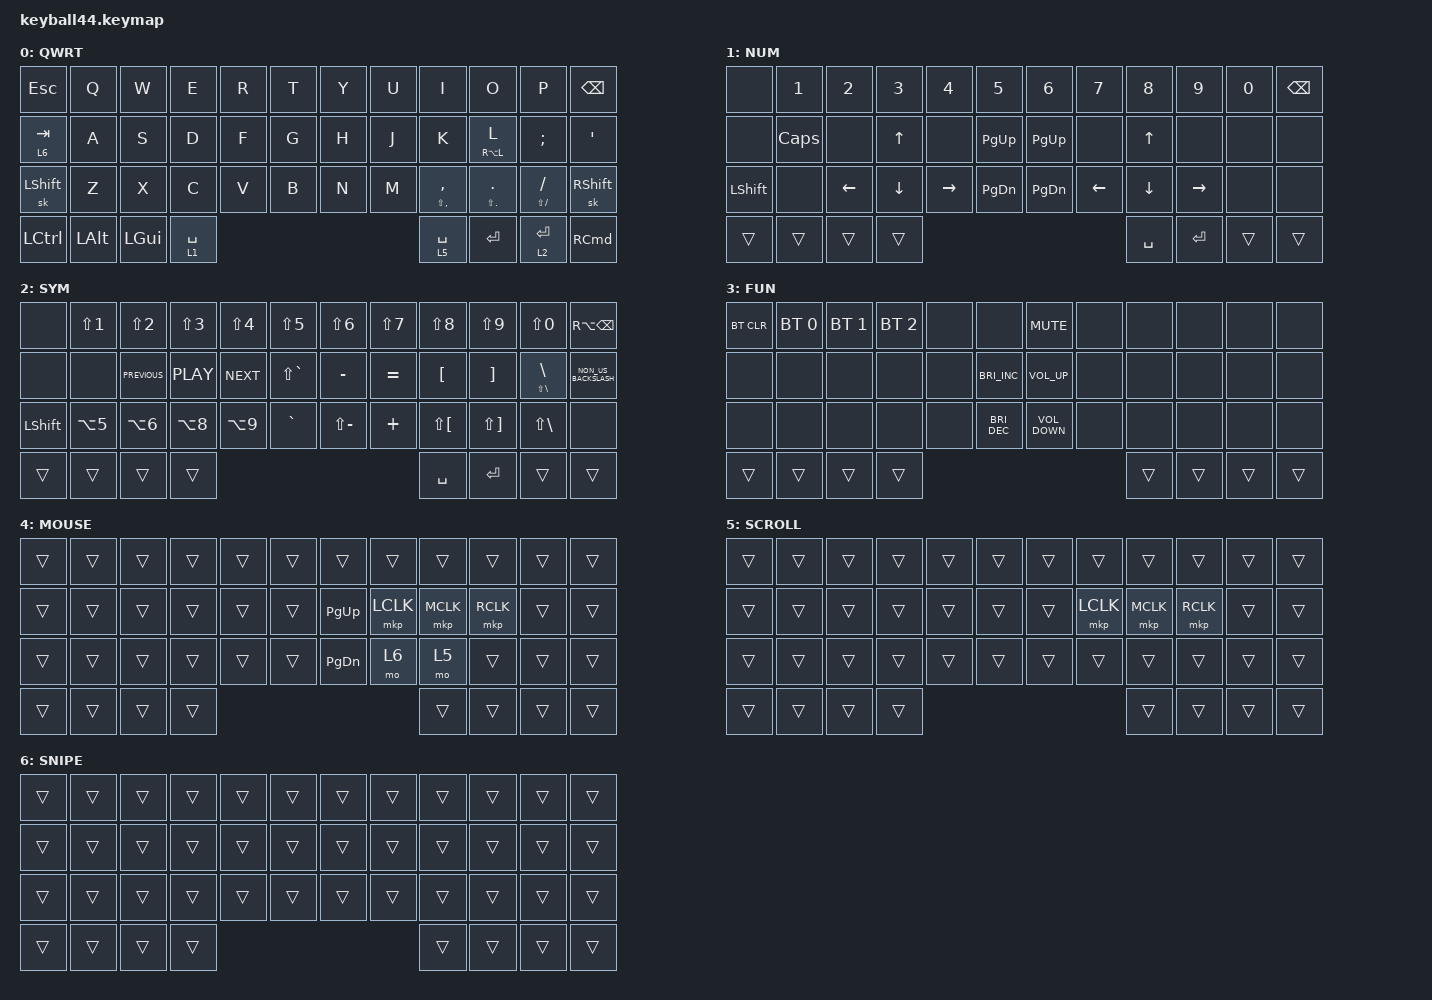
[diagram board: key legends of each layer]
#define DEFAULT 0
#define NUM     1
#define SYM     2
#define FUN     3
#define MOUSE   4
#define SCROLL  5
#define SNIPE   6

#include <behaviors/mouse_keys.dtsi>
#include <dt-bindings/zmk/mouse.h>
#include <behaviors.dtsi>
#include <dt-bindings/zmk/bt.h>
#include <dt-bindings/zmk/keys.h>
#include <dt-bindings/zmk/pointing.h>

&lt {
    tapping-term-ms = <200>;
    flavor = "balanced";
    quick-tap-ms = <100>;
};

&mt {
    tapping-term-ms = <200>;
    flavor = "tap-preferred";
    quick-tap-ms = <150>;
};

&caps_word { continue-list = <UNDERSCORE MINUS>; };

/ {
    // custom shift using mod-morph 

    behaviors {
        cmqus: comma_question {
            compatible = "zmk,behavior-mod-morph";
            label = "COMMA_QUESTION";
            #binding-cells = <0>;
            bindings = <&kp COMMA>, <&kp QUESTION>;

            mods = <(MOD_LSFT|MOD_RSFT)>;
        };

        dtsmi: dot_semi {
            compatible = "zmk,behavior-mod-morph";
            label = "DOT_SEMI";
            #binding-cells = <0>;
            bindings = <&kp DOT>, <&kp SEMI>;

            mods = <(MOD_LSFT|MOD_RSFT)>;
        };

        tap_and_hold: tap_and_hold {
            compatible = "zmk,behavior-hold-tap";
            label = "TAP_AND_HOLD";
            bindings = <&kp>, <&kp>;

            #binding-cells = <2>;
            tapping-term-ms = <150>;
            flavor = "tap-preferred";
        };
    };

    combos {
        compatible = "zmk,combos";

        layer_3 {
            bindings = <&mo 3>;
            key-positions = <39 42>;
            timeout-ms = <2000>;
        };
    };

    keymap {
        compatible = "zmk,keymap";

        default_layer {
            label = "QWRT";
            bindings = <
&kp ESCAPE        &kp Q     &kp W     &kp E        &kp R        &kp T                 &kp Y        &kp U  &kp I                          &kp O                      &kp P                          &kp BACKSPACE
&lt 6 TAB         &kp A     &kp S     &kp D        &kp F        &kp G                 &kp H        &kp J  &kp K                          &tap_and_hold RA(L) L      &kp SEMI                       &kp SQT
&sk LEFT_SHIFT    &kp Z     &kp X     &kp C        &kp V        &kp B                 &kp N        &kp M  &tap_and_hold LS(COMMA) COMMA  &tap_and_hold LS(DOT) DOT  &tap_and_hold LS(SLASH) SLASH  &sk RIGHT_SHIFT
&kp LEFT_CONTROL  &kp LALT  &kp LGUI  &lt 1 SPACE  &lt 5 SPACE             &kp ENTER  &lt 2 ENTER                                                                                                  &kp RIGHT_COMMAND
            >;
        };

        number_layer {
            label = "NUM";
            bindings = <
&none           &kp NUMBER_1  &kp NUMBER_2  &kp NUMBER_3  &kp NUMBER_4  &kp NUMBER_5                  &kp NUMBER_6   &kp NUMBER_7  &kp NUMBER_8  &kp NUMBER_9  &kp NUMBER_0  &kp BACKSPACE
&none           &kp CAPSLOCK  &none         &kp UP        &none         &kp PAGE_UP                   &kp PAGE_UP    &none         &kp UP        &none         &none         &none
&kp LEFT_SHIFT  &none         &kp LEFT      &kp DOWN      &kp RIGHT     &kp PAGE_DOWN                 &kp PAGE_DOWN  &kp LEFT      &kp DOWN      &kp RIGHT     &none         &none
&trans          &trans        &trans        &trans        &kp SPACE                        &kp ENTER  &trans                                                                 &trans
            >;
        };

        symbol_layer {
            label = "SYM";
            bindings = <
&none       &kp LS(NUMBER_1)  &kp LS(NUMBER_2)  &kp LS(NUMBER_3)  &kp LS(NUMBER_4)  &kp LS(NUMBER_5)                 &kp LS(NUMBER_6)  &kp LS(NUMBER_7)  &kp LS(NUMBER_8)      &kp LS(NUMBER_9)       &kp LS(NUMBER_0)                       &kp RA(BACKSPACE)
&none       &none             &kp C_PREVIOUS    &kp C_PLAY        &kp C_NEXT        &kp LS(GRAVE)                    &kp MINUS         &kp EQUAL         &kp LEFT_BRACKET      &kp RIGHT_BRACKET      &tap_and_hold LS(BACKSLASH) BACKSLASH  &kp NON_US_BACKSLASH
&kp LSHIFT  &kp LA(NUMBER_5)  &kp LA(NUMBER_6)  &kp LA(NUMBER_8)  &kp LA(NUMBER_9)  &kp GRAVE                        &kp LS(MINUS)     &kp PLUS          &kp LS(LEFT_BRACKET)  &kp LS(RIGHT_BRACKET)  &kp LS(BACKSLASH)                      &none
&trans      &trans            &trans            &trans            &kp SPACE                               &kp ENTER  &trans                                                                                                                  &trans
            >;
        };

        function_layer {
            label = "FUN";
            bindings = <
&bt BT_CLR  &bt BT_SEL 0  &bt BT_SEL 1  &bt BT_SEL 2  &none   &none                             &kp C_MUTE         &none  &none  &none  &none  &none
&none       &none         &none         &none         &none   &kp C_BRIGHTNESS_INC              &kp C_VOLUME_UP    &none  &none  &none  &none  &none
&none       &none         &none         &none         &none   &kp C_BRIGHTNESS_DEC              &kp C_VOLUME_DOWN  &none  &none  &none  &none  &none
&trans      &trans        &trans        &trans        &trans                            &trans  &trans                                         &trans
            >;
        };

        mouse_layer {
            label = "MOUSE";
            bindings = <
&trans  &trans  &trans  &trans  &trans  &trans              &trans         &trans     &trans     &trans     &trans  &trans
&trans  &trans  &trans  &trans  &trans  &trans              &kp PAGE_UP    &mkp LCLK  &mkp MCLK  &mkp RCLK  &trans  &trans
&trans  &trans  &trans  &trans  &trans  &trans              &kp PAGE_DOWN  &mo 6      &mo 5      &trans     &trans  &trans
&trans  &trans  &trans  &trans  &trans              &trans  &trans                                                  &trans
            >;
        };

        scroll_layer {
            label = "SCROLL";
            bindings = <
&trans  &trans  &trans  &trans  &trans  &trans              &trans  &trans     &trans     &trans     &trans  &trans
&trans  &trans  &trans  &trans  &trans  &trans              &trans  &mkp LCLK  &mkp MCLK  &mkp RCLK  &trans  &trans
&trans  &trans  &trans  &trans  &trans  &trans              &trans  &trans     &trans     &trans     &trans  &trans
&trans  &trans  &trans  &trans  &trans              &trans  &trans                                           &trans
            >;
        };

        snipe_layer {
            label = "SNIPE";
            bindings = <
&trans  &trans  &trans  &trans  &trans  &trans              &trans  &trans  &trans  &trans  &trans  &trans
&trans  &trans  &trans  &trans  &trans  &trans              &trans  &trans  &trans  &trans  &trans  &trans
&trans  &trans  &trans  &trans  &trans  &trans              &trans  &trans  &trans  &trans  &trans  &trans
&trans  &trans  &trans  &trans  &trans              &trans  &trans                                  &trans
            >;
        };
    };
};
